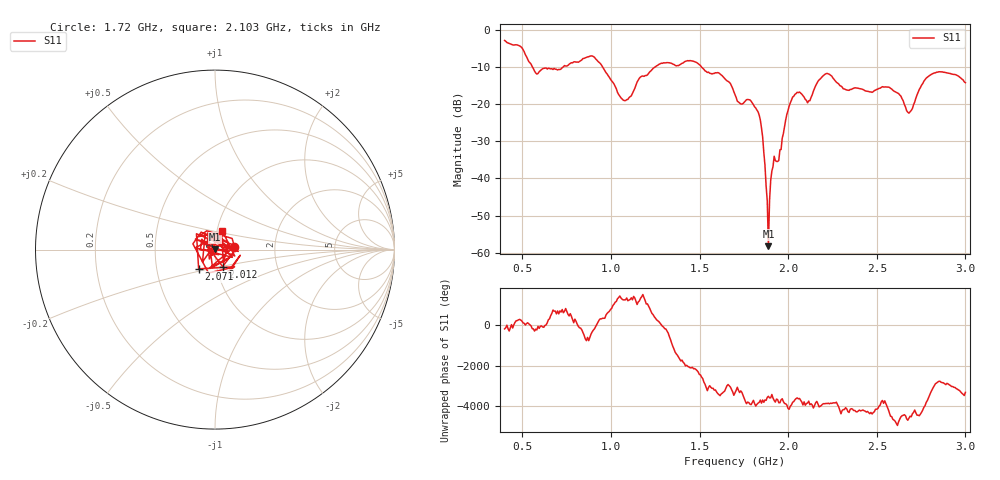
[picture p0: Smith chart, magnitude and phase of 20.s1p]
!Created with skrf (http://scikit-rf.org).
# Hz S RI R 50.0
!freq ReS11 ImS11
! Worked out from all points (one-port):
!   401 points, 400 MHz to 3 GHz, reference 50 ohm
!   lowest |S11| = -58.2 dB at 1.889 GHz (marker M1), VSWR 1.00, Z = 50 + j0.113 ohm
!   |S11| at or under -10 dB: 556.7 MHz to 731.6 MHz (174.9 MHz wide, 27.2 % of centre); 952.7 MHz to 1.249 GHz (296.3 MHz wide, 26.9 % of centre); 1.511 GHz to end of sweep
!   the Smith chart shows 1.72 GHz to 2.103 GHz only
!   S11 on the Smith chart (normalised r, x): 1.72 GHz: 1.24, +0.04; 2.012 GHz: 1.07, -0.20; 2.071 GHz: 0.82, -0.18; 2.103 GHz: 1.06, +0.22
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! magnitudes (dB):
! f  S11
! 400 MHz  -2.9
! 491 MHz  -4.6
! 582 MHz  -11.9
! 725 MHz  -10.2
! 900.5 MHz  -7.2
! 1.05 GHz  -17.9
! 1.095 GHz  -18.8
! 1.271 GHz  -9.3
! 1.375 GHz  -9.6
! 1.609 GHz  -11.6
! 1.7 GHz  -17.5
! 1.72 GHz  -19.4
! 1.83 GHz  -22.1
! 1.849 GHz  -26.4
! 1.875 GHz  -42.0
! 1.889 GHz  -58.2
! 1.915 GHz  -36.8
! 1.947 GHz  -35.2
! 2.012 GHz  -19.7
! 2.025 GHz  -18.1
! 2.071 GHz  -17.0
! 2.103 GHz  -19.0
! 2.213 GHz  -11.8
! 2.35 GHz  -16.1
! 2.571 GHz  -15.5
! 2.675 GHz  -22.2
! 2.812 GHz  -11.9
! 3 GHz  -14.2
